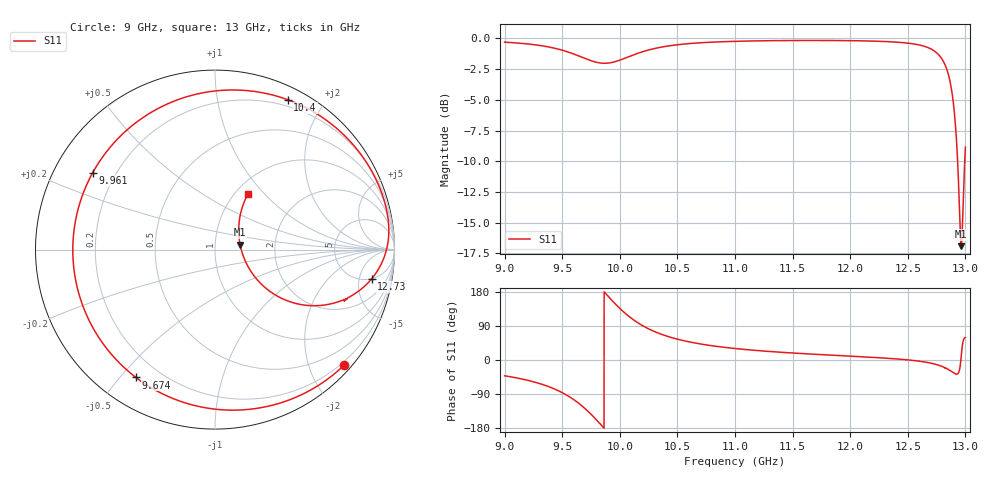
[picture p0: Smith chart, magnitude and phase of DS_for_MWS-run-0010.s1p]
! TOUCHSTONE file generated by CST DESIGN STUDIO
! Date and time: Tue Feb  4 17:38:03 2025
! Project name: C:\Work\MatlabApps\UnitCellOptimizationMatlab\CST\unitcell.cst
! Tree item: Tasks\Sweep1\SPara1\S-Parameters
! Header version: 2024
! Port assignment regex: !\s*Touchstone port\s*([0-9]+)\s*=\s*(CST MWS port|CST DES external port|CST DES block port)\s*(.+)\s* \(\"(.*)\"\)(\s*mode\s*([0-9]+))?.*
! Touchstone port assignment:
! Touchstone port 1 = CST DES external port 1 ("")
# GHz S MA R 50
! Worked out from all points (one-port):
!   4001 points, 9 GHz to 13 GHz, reference 50 ohm
!   lowest |S11| = -16.9 dB at 12.96 GHz (marker M1), VSWR 1.33, Z = 66.2 + j3.65 ohm
!   |S11| at or under -10 dB: 12.93247 GHz to 12.99428 GHz (61.8 MHz wide, 0.477 % of centre)
!   S11 on the Smith chart (normalised r, x): 9 GHz: 0.14, -2.62; 9.674 GHz: 0.12, -0.55; 9.961 GHz: 0.12, +0.28; 10.4 GHz: 0.13, +1.59; 12.73 GHz: 4.93, -7.59; 13 GHz: 1.14, +0.81
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9  0.9656 -41.7
9.279  0.9402 -59.9
9.5  0.8957 -86.2
9.593  0.8666 -103.0
9.674  0.8375 -121.8
9.747  0.8126 -142.1
9.828  0.7947 -168.0
9.893  0.7933 170.1
9.961  0.8048 147.9
10  0.8159 136.2
10.078  0.8427 115.3
10.163  0.872 96.9
10.278  0.9045 78.2
10.397  0.9283 64.1
10.5  0.9427 55.0
10.716  0.9613 41.5
11  0.9733 30.3
11.5  0.9809 18.4
12  0.9795 10.2
12.5  0.957 0.3
12.733  0.8873 -10.6
12.816  0.7943 -19.4
12.88  0.6177 -30.4
12.923  0.3827 -37.3
12.951  0.1878 -22.9
12.964  0.1426 10.9
12.975  0.1769 41.6
13  0.3607 59.3
